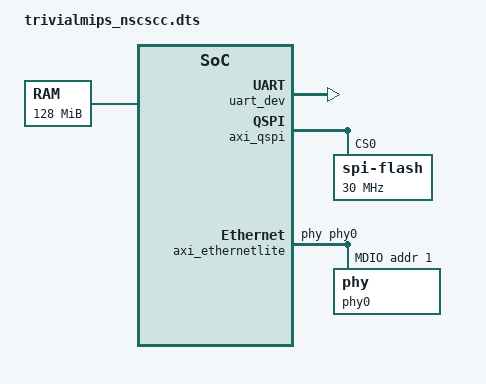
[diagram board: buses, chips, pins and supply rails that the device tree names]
/dts-v1/;

/ {
	#address-cells = <1>;
	#size-cells = <1>;
	compatible = "img,xilfpga";

	cpus {
		#address-cells = <1>;
		#size-cells = <0>;
		cpu@0 {
			device_type = "cpu";
			compatible = "mips,m14Kc";
			clocks	= <&ext>;
			reg = <0>;
		};
	};

	ext: ext {
		compatible = "fixed-clock";
		#clock-cells = <0>;
	};
};

/ {
	compatible = "nscscc,fpga-a7";

	memory: memory@0 {
		device_type = "memory";
		reg = <0x0 0x8000000>;
	};

	cpuintc: interrupt-controller@bd000000 {
		#address-cells = <0>;
		#interrupt-cells = <1>;
                reg = <0xbd000000 0x20>;
		interrupt-controller;
		compatible = "mti,cpu-interrupt-controller";
	};

	aliases {
		console = &uart_dev;
		spi0 = &axi_qspi;
	};

	uart_dev: serial@bfd03000 {
		compatible = "ns16550";
		reg = <0xbfd00000 0x1000>;
                reg-shift = <2>;
                clock-frequency = <100000000>;
		interrupts = <3 0>;
                interrupt-parent = <&cpuintc>;
	};

	axi_qspi: spi@bc040000 {
                #address-cells = <1>;
                #size-cells = <0>;
		compatible = "xlnx,xps-spi-2.00.a";
		reg = <0xbc040000 0x1000>;
		fifo-size = <256>;
		xlnx,spi-mode = <0>;

                spi-flash@0 {
                    compatible = "spi-flash", "jedec,spi-nor";
                    reg = <0>;
                    spi-max-frequency = <30000000>;
                };
	};

	axi_ethernetlite: ethernet@bc000000 {
		compatible = "xlnx,xps-ethernetlite-1.00.a";
		device_type = "network";
		local-mac-address = [19 98 00 01 00 29];
		phy-handle = <&phy0>;
		reg = <0xbc000000 0x10000>;
		xlnx,duplex = <0x1>;
		xlnx,include-global-buffers = <0x1>;
		xlnx,include-internal-loopback = <0x0>;
		xlnx,include-mdio = <0x1>;
		xlnx,instance = "axi_ethernetlite_inst";
		xlnx,rx-ping-pong = <0x1>;
		xlnx,s-axi-id-width = <0x1>;
		xlnx,tx-ping-pong = <0x1>;
		xlnx,use-internal = <0x0>;
		mdio {
				#address-cells = <1>;
				#size-cells = <0>;
				phy0: phy@1 {
						device_type = "ethernet-phy";
						reg = <1>;
				} ;
		} ;
	};
};

